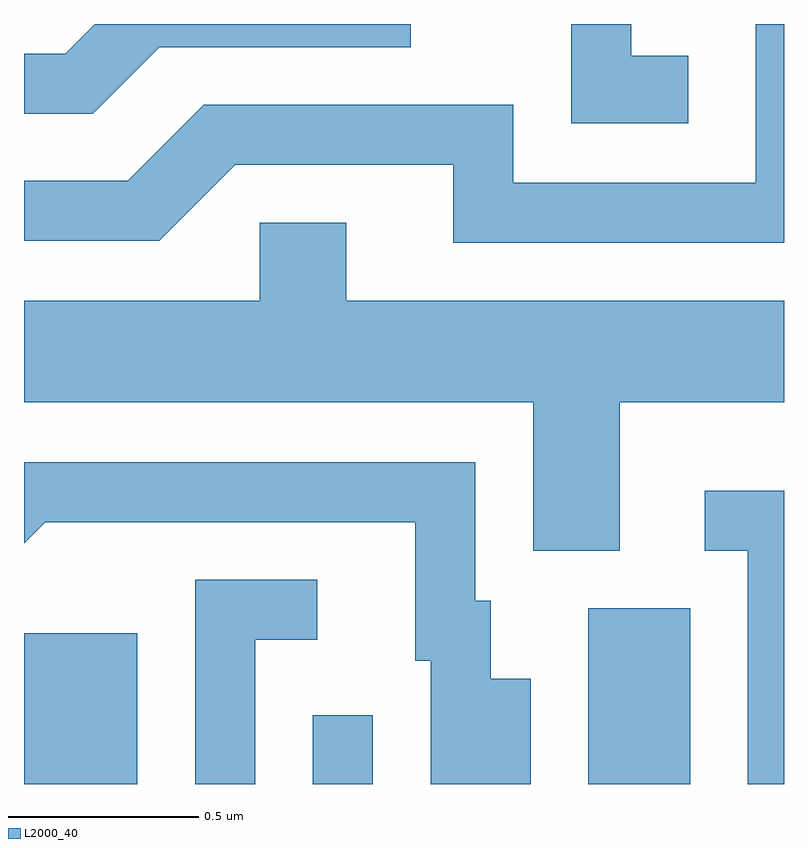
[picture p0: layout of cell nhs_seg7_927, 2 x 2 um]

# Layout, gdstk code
import gdstk
lib = gdstk.Library(unit=1e-6, precision=1e-09)
def R(c, l, rs):  # rectangles x0, y0, x1, y1
    for r in rs: c.add(gdstk.rectangle(r[:2], r[2:], *l))
def P(c, l, *ps):  # polygons
    for p in ps: c.add(gdstk.Polygon(p, *l))
L2000_40 = (2000, 40)

nhs_seg7_927 = lib.new_cell('nhs_seg7_927')
R(nhs_seg7_927, L2000_40, [(191.611,1773.252,191.909,1773.649), (192.371,1773.252,192.529,1773.433), (193.096,1773.252,193.364,1773.714)])
P(nhs_seg7_927, L2000_40, [(193.611,1775.252),(193.536,1775.252),(193.536,1774.834),(192.899,1774.834),(192.899,1775.039),(192.084,1775.039),(191.884,1774.839),(191.611,1774.839),(191.611,1774.681),(191.967,1774.681),(192.167,1774.881),(192.741,1774.881),(192.741,1774.676),(193.611,1774.676)],
  [(193.359,1775.169),(193.209,1775.169),(193.209,1775.252),(193.051,1775.252),(193.051,1774.991),(193.359,1774.991)],
  [(191.967,1775.191),(192.629,1775.191),(192.629,1775.252),(191.797,1775.252),(191.719,1775.174),(191.611,1775.174),(191.611,1775.016),(191.792,1775.016)],
  [(193.179,1774.256),(193.611,1774.256),(193.611,1774.524),(192.459,1774.524),(192.459,1774.729),(192.231,1774.729),(192.231,1774.524),(191.611,1774.524),(191.611,1774.256),(192.951,1774.256),(192.951,1773.866),(193.179,1773.866)],
  [(192.944,1773.529),(192.839,1773.529),(192.839,1773.734),(192.799,1773.734),(192.799,1774.099),(191.611,1774.099),(191.611,1773.885),(191.667,1773.941),(192.641,1773.941),(192.641,1773.576),(192.681,1773.576),(192.681,1773.252),(192.944,1773.252)],
  [(193.611,1774.024),(193.403,1774.024),(193.403,1773.866),(193.516,1773.866),(193.516,1773.252),(193.611,1773.252)],
  [(192.219,1773.631),(192.383,1773.631),(192.383,1773.789),(192.061,1773.789),(192.061,1773.252),(192.219,1773.252)])

lib.write_gds('nhs_seg7_927.gds')
